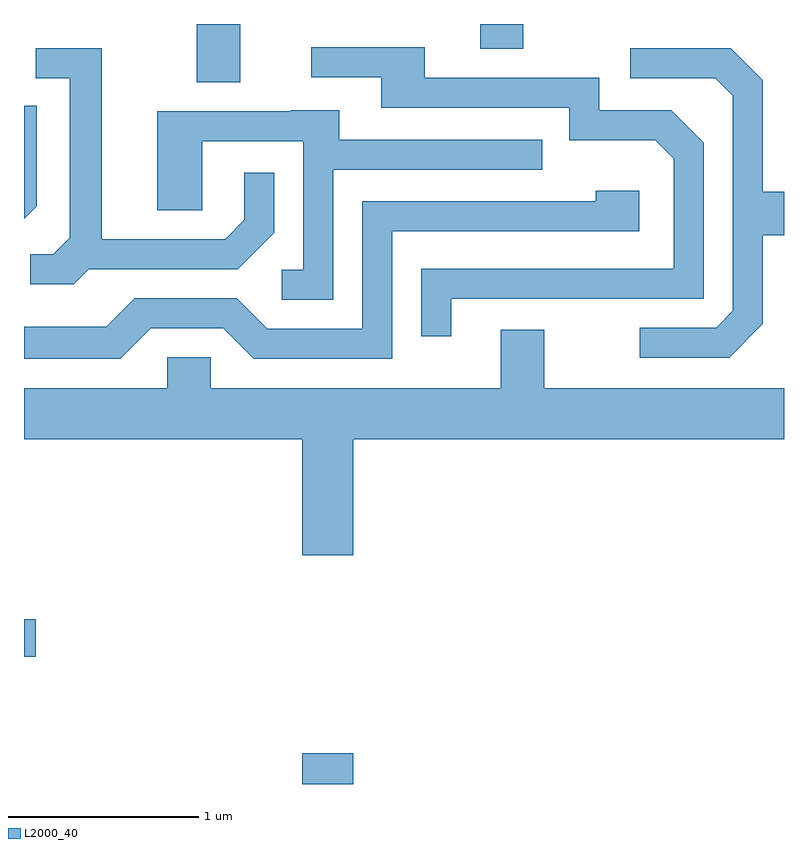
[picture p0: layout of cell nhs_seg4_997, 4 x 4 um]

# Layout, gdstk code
import gdstk
lib = gdstk.Library(unit=1e-6, precision=1e-09)
def R(c, l, rs):  # rectangles x0, y0, x1, y1
    for r in rs: c.add(gdstk.rectangle(r[:2], r[2:], *l))
def P(c, l, *ps):  # polygons
    for p in ps: c.add(gdstk.Polygon(p, *l))
L2000_40 = (2000, 40)

nhs_seg4_997 = lib.new_cell('nhs_seg4_997')
R(nhs_seg4_997, L2000_40, [(215.076,1343.982,215.344,1344.144), (213.611,1344.651,213.674,1344.849), (214.521,1347.676,214.749,1347.982), (216.011,1347.851,216.239,1347.982)])
P(nhs_seg4_997, L2000_40, [(215.859,1346.536),(217.189,1346.536),(217.189,1347.357),(217.017,1347.529),(216.639,1347.529),(216.639,1347.699),(215.719,1347.699),(215.719,1347.859),(215.123,1347.859),(215.123,1347.701),(215.491,1347.701),(215.491,1347.541),(216.481,1347.541),(216.481,1347.371),(216.934,1347.371),(217.031,1347.274),(217.031,1346.694),(215.701,1346.694),(215.701,1346.338),(215.859,1346.338)],
  [(217.499,1346.404),(217.499,1346.871),(217.611,1346.871),(217.611,1347.099),(217.499,1347.099),(217.499,1347.687),(217.332,1347.854),(216.803,1347.854),(216.803,1347.696),(217.249,1347.696),(217.341,1347.604),(217.341,1346.472),(217.254,1346.384),(216.853,1346.384),(216.853,1346.226),(217.322,1346.226)],
  [(213.952,1346.691),(214.737,1346.691),(214.929,1346.884),(214.929,1347.198),(214.771,1347.198),(214.771,1346.952),(214.669,1346.849),(214.019,1346.849),(214.019,1347.854),(213.673,1347.854),(213.673,1347.696),(213.851,1347.696),(213.851,1346.857),(213.764,1346.769),(213.643,1346.769),(213.643,1346.611),(213.872,1346.611)],
  [(213.679,1347.024),(213.679,1347.553),(213.611,1347.553),(213.611,1346.956)],
  [(215.239,1347.216),(216.338,1347.216),(216.338,1347.374),(215.269,1347.374),(215.269,1347.529),(215.015,1347.529),(215.015,1347.524),(214.311,1347.524),(214.311,1347.001),(214.549,1347.001),(214.549,1347.366),(215.081,1347.366),(215.081,1346.689),(214.968,1346.689),(214.968,1346.531),(215.239,1346.531)],
  [(214.277,1346.381),(214.659,1346.381),(214.819,1346.221),(215.549,1346.221),(215.549,1346.891),(216.849,1346.891),(216.849,1347.104),(216.621,1347.104),(216.621,1347.049),(215.391,1347.049),(215.391,1346.379),(214.892,1346.379),(214.732,1346.539),(214.194,1346.539),(214.044,1346.389),(213.611,1346.389),(213.611,1346.221),(214.117,1346.221)],
  [(215.344,1345.796),(217.611,1345.796),(217.611,1346.064),(216.349,1346.064),(216.349,1346.374),(216.121,1346.374),(216.121,1346.064),(214.594,1346.064),(214.594,1346.229),(214.366,1346.229),(214.366,1346.064),(213.611,1346.064),(213.611,1345.796),(215.076,1345.796),(215.076,1345.186),(215.344,1345.186)])

lib.write_gds('nhs_seg4_997.gds')
